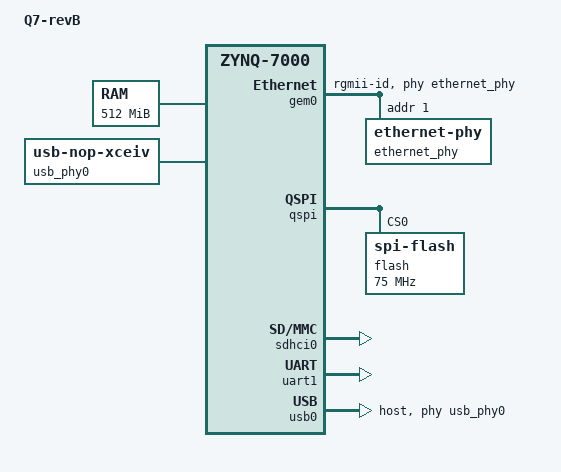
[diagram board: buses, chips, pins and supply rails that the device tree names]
/*
 * Xiphos Q7 devicetree
 *
 *  Copyright (C) 2011 - 2015 Xilinx
 *  Copyright (C) 2012 National Instruments Corp.
 *  Copyright (C) 2016 - 2017, Xiphos System Corp.
 *
 * SPDX-License-Identifier:	GPL-2.0+
 */
/dts-v1/;
#include "zynq-7000.dtsi"

/ {
	model = "Q7-revB";
	compatible = "xlnx,zynq-zed", "xlnx,zynq-7000";

	aliases {
		ethernet0 = &gem0;
		serial0 = &uart0;
		serial1 = &uart1;
		spi0 = &qspi;
		mmc0 = &sdhci0;
		mmc1 = &sdhci1;
	};

	memory {
		device_type = "memory";
		reg = <0x0 0x20000000>;
	};

	chosen {
		bootargs = "earlyprintk";
		stdout-path = "serial0:115200n8";
	};

	usb_phy0: phy0 {
		compatible = "usb-nop-xceiv";
		#phy-cells = <0>;
	};
};

&clkc {
	ps-clk-frequency = <33333333>;
};

&gem0 {
	status = "okay";
	phy-mode = "rgmii-id";
	phy-handle = <&ethernet_phy>;

	ethernet_phy: ethernet-phy@0 {
		reg = <1>;
	};
};

&qspi {
	status = "okay";
	is-dual = <0>;
	num-cs = <2>;
	flash: flash@0 {
		compatible = "spi-flash";
		reg = <0x0>;
		spi-tx-bus-width = <1>;
		spi-rx-bus-width = <4>;
		spi-max-frequency = <75000000>;
		#address-cells = <1>;
		#size-cells = <1>;

		qspi0@0 {
			reg = <0x00000000 0x08000000>;
		};

		qspi0-nom@1 {
			reg = <0x00000000 0x04000000>;
		};
		qspi0-nom-xscinfo@2 {
			reg = <0x00000000 0x00020000>;
		};
		qspi0-nom-fw@3 {
			/* 10MiB */
			reg = <0x00020000 0x00A00000>;
		};
		qspi0-nom-rootfs@4 {
			reg = <0x00A20000 0x035E0000>;
		};
	};
};

&sdhci0 {
	u-boot,dm-pre-reloc;
	status = "okay";
};

&uart1 {
	u-boot,dm-pre-reloc;
	status = "okay";
};

&qspi {
	status = "okay";
};

&usb0 {
	status = "okay";
	dr_mode = "host";
	usb-phy = <&usb_phy0>;
};
